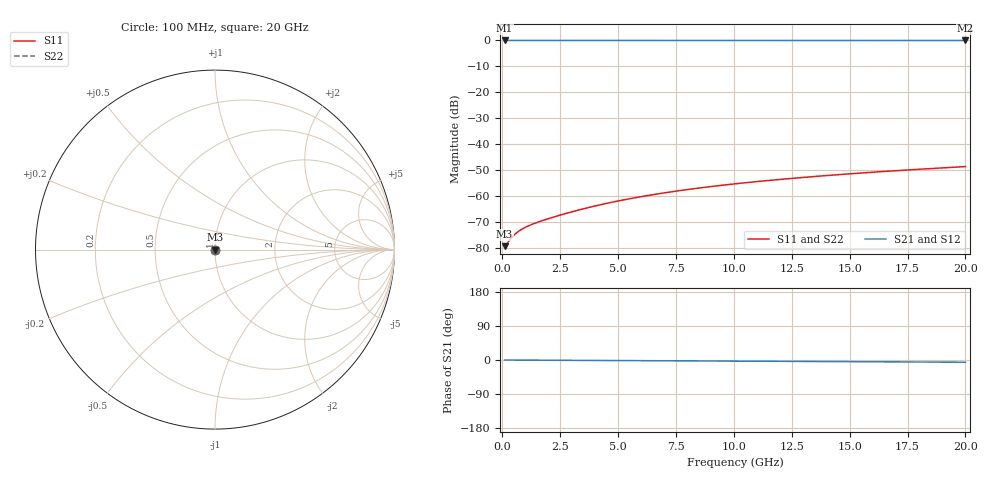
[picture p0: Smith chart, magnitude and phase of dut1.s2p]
! Touchstone file exported from HFSS 2026.1.0
!  File:  C:/ffzhzh/LocalFiles/Ansys_Project_Files/temp_test_TSV_1_1782977782_45568.aedt
!  Generated:  03:37:56 PM Jul  2, 2026
!  Design:  TSV
!  Project:  temp_test_TSV_1_1782977782_45568
! Variables:
!  h_bsmrdl = 2um
!  h_ox = 20um
!  h_rdl = 5um
!  h_sub = 57.16um
!  h_tmrdl = 5um
!  h_tsv = 57.16um
!  h_via = 3um
!  l_bsmrdl = 300um
!  l_sub = 419.4um
!  l_tmrdl = 200um
!  m_sub = 200um
!  pitch = 37.46um
!  r_tsv = 9.7um
!  s_tmrdl = 10um
!  w_bsmrdl = 18um
!  w_sub = 500um
!  w_tmrdl = 12um
!  x_tsv_center1 = 206um
!  x_tsv_center2 = 524um
!  x_tsv_center3 = 736um
!  x_tsv_center4 = 1054um
!  x_tsv_center5 = 1266um
!  x_tsv_center6 = 1584um
# GHz S MA R 50.000000
! Terminal data exported
! Port[1] = TSV1_1_T1
! Port[2] = TSV1_1_T2
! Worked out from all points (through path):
!   200 points, 100 MHz to 20 GHz, reference 50 ohm
!   highest |S21| = 0.00 dB at 100 MHz (marker M1); lowest = 0.0 dB at 20 GHz (marker M2)
!   lowest |S11| = -79.4 dB at 100 MHz (marker M3), VSWR 1.00, Z = 50 + j0.00168 ohm
!   |S11| at or under -10 dB: start of sweep to end of sweep
!   |S22| runs from -79.4 to -48.7 dB; largest |S21 - S12| = 2.2e-15
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0.1  0.0001076 9.0  0.9999 -0.0  0.9999 -0.0  0.0001076 9.0
! Gamma 0 0 0 0
! Port Impedance 50 0 50 0
0.2  0.0001203 15.0  0.9999 -0.1  0.9999 -0.1  0.0001203 15.0
0.4  0.000156 17.5  0.9999 -0.1  0.9999 -0.1  0.000156 17.5
0.5  0.0001743 15.8  0.9998 -0.2  0.9998 -0.2  0.0001743 15.8
0.6  0.0001916 13.1  0.9998 -0.2  0.9998 -0.2  0.0001916 13.1
0.8  0.0002225 6.9  0.9998 -0.2  0.9998 -0.2  0.0002225 6.9
1  0.0002494 0.5  0.9998 -0.3  0.9998 -0.3  0.0002494 0.5
1.4  0.0002969 -10.8  0.9997 -0.4  0.9997 -0.4  0.0002969 -10.8
2  0.0003661 -23.6  0.9997 -0.6  0.9997 -0.6  0.0003661 -23.6
2.7  0.0004536 -33.9  0.9996 -0.8  0.9996 -0.8  0.0004537 -33.9
3.5  0.000565 -42.0  0.9996 -1.0  0.9996 -1.0  0.0005651 -42.0
4.3  0.000687 -47.8  0.9995 -1.3  0.9995 -1.3  0.000687 -47.8
5.1  0.0008172 -52.3  0.9995 -1.5  0.9995 -1.5  0.0008173 -52.3
5.9  0.0009537 -56.0  0.9994 -1.7  0.9994 -1.7  0.0009538 -55.9
6.8  0.001113 -59.3  0.9994 -2.0  0.9994 -2.0  0.001113 -59.3
8.4  0.001405 -64.0  0.9993 -2.5  0.9993 -2.5  0.001405 -64.0
10.1  0.001725 -67.8  0.9993 -3.0  0.9993 -3.0  0.001725 -67.8
11.7  0.00203 -70.7  0.9992 -3.4  0.9992 -3.4  0.002031 -70.7
13.4  0.00236 -73.1  0.9992 -3.9  0.9992 -3.9  0.00236 -73.1
15  0.002675 -75.1  0.9991 -4.4  0.9991 -4.4  0.002675 -75.1
16.7  0.003014 -76.8  0.9991 -4.9  0.9991 -4.9  0.003014 -76.8
20  0.00369 -79.5  0.999 -5.9  0.999 -5.9  0.00369 -79.5
